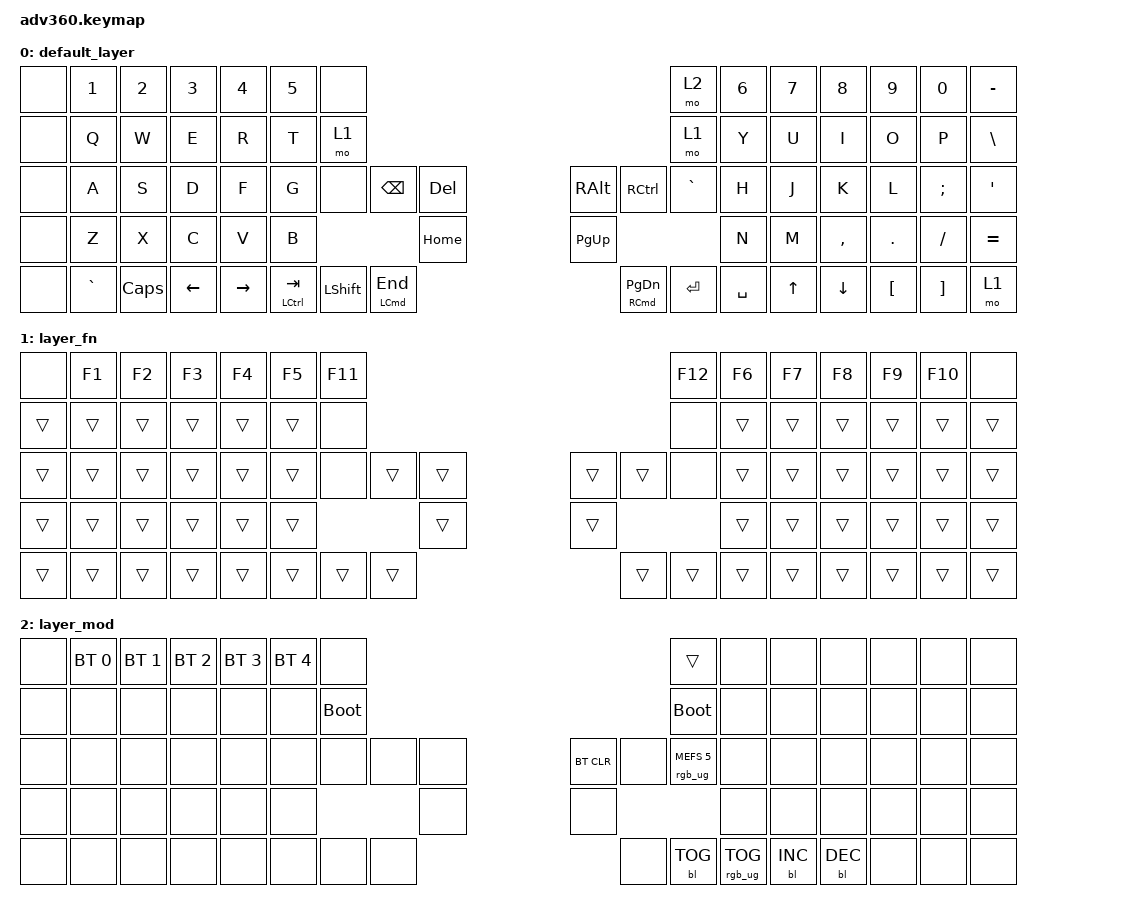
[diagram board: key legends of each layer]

/*
 * Copyright (c) 2020 The ZMK Contributors
 *
 * SPDX-License-Identifier: MIT
 */


/* THIS FILE WAS GENERATED!
 *
 * This file was generated automatically. You may or may not want to
 * edit it directly.
 */

#include <behaviors.dtsi>
#include <dt-bindings/zmk/keys.h>
#include <dt-bindings/zmk/bt.h>
#include <dt-bindings/zmk/rgb.h>
#include <dt-bindings/zmk/backlight.h>

/ {
  behaviors {
    #include "macros.dtsi"

    hm: homerow_mods {
        compatible = "zmk,behavior-hold-tap";
        label = "HOMEROW_MODS";
        #binding-cells = <2>;
        tapping-term-ms = <200>;
        quick_tap_ms = <175>;
        flavor = "tap-preferred";
        bindings = <&kp>, <&kp>;
    };
  };

    keymap {
        compatible = "zmk,keymap";


        default_layer {
            bindings = <
  &none     &kp N1        &kp N2    &kp N3     &kp N4  &kp N5                    &none                                                                           &mo 2  &kp N6  &kp N7     &kp N8    &kp N9    &kp N0  &kp MINUS
  &none      &kp Q         &kp W     &kp E      &kp R   &kp T                    &mo 1                                                                           &mo 1   &kp Y   &kp U      &kp I     &kp O     &kp P   &kp BSLH
  &none      &kp A         &kp S     &kp D      &kp F   &kp G                    &none    &kp BSPC       &kp DEL                   &kp RIGHT_ALT  &kp RCTRL  &kp GRAVE   &kp H   &kp J      &kp K     &kp L  &kp SEMI    &kp SQT
  &none      &kp Z         &kp X     &kp C      &kp V   &kp B                                           &kp HOME                       &kp PG_UP                         &kp N   &kp M  &kp COMMA   &kp DOT  &kp FSLH  &kp EQUAL
  &none  &kp GRAVE  &kp CAPSLOCK  &kp LEFT  &kp RIGHT                    &mt LCTRL TAB  &kp LSHIFT  &mt LCMD END                  &mt RCMD PG_DN  &kp ENTER  &kp SPACE          &kp UP   &kp DOWN  &kp LBKT  &kp RBKT      &mo 1
            >;
        };

        layer_fn {
            bindings = <
  &none  &kp F1  &kp F2  &kp F3  &kp F4  &kp F5            &kp F11                                                  &kp F12  &kp F6  &kp F7  &kp F8  &kp F9  &kp F10   &none
 &trans  &trans  &trans  &trans  &trans  &trans              &none                                                    &none  &trans  &trans  &trans  &trans   &trans  &trans
 &trans  &trans  &trans  &trans  &trans  &trans              &none  &trans  &trans                  &trans  &trans    &none  &trans  &trans  &trans  &trans   &trans  &trans
 &trans  &trans  &trans  &trans  &trans  &trans                             &trans                  &trans                   &trans  &trans  &trans  &trans   &trans  &trans
 &trans  &trans  &trans  &trans  &trans                     &trans  &trans  &trans                  &trans  &trans   &trans          &trans  &trans  &trans   &trans  &trans
            >;
        };

        layer_mod {
            bindings = <
  &none  &bt BT_SEL 0  &bt BT_SEL 1  &bt BT_SEL 2  &bt BT_SEL 3  &bt BT_SEL 4                  &none                                                                          &trans   &none       &none       &none   &none   &none   &none
  &none         &none         &none         &none         &none         &none            &bootloader                                                                     &bootloader   &none       &none       &none   &none   &none   &none
  &none         &none         &none         &none         &none         &none                  &none   &none   &none                  &bt BT_CLR       &none  &rgb_ug RGB_MEFS_CMD 5   &none       &none       &none   &none   &none   &none
  &none         &none         &none         &none         &none         &none                                  &none                       &none                                       &none       &none       &none   &none   &none   &none
  &none         &none         &none         &none         &none                                &none   &none   &none                       &none  &bl BL_TOG         &rgb_ug RGB_TOG          &bl BL_INC  &bl BL_DEC   &none   &none   &none
            >;
        };

    };
};
